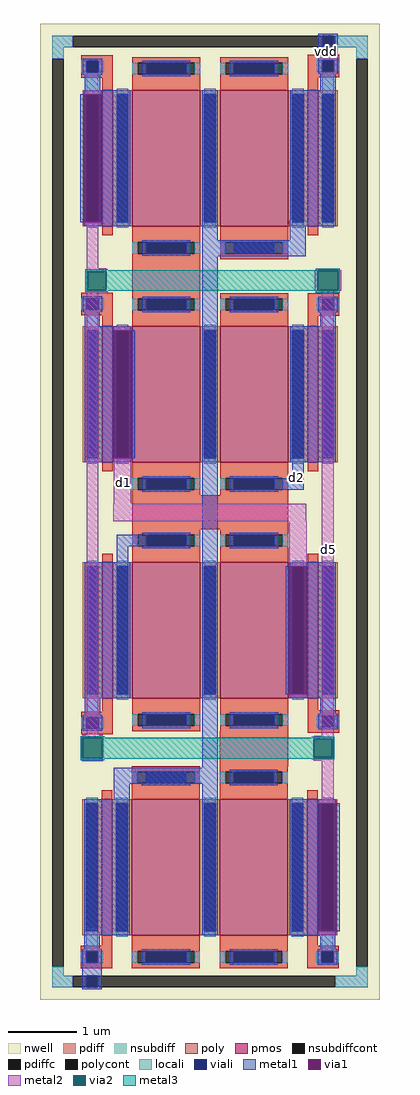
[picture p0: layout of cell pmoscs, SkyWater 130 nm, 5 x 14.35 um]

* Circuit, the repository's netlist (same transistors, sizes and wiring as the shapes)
** sch_path: /home/ridho/project/opamp/mag/pmoscs.sch
.subckt pmoscs VDD D1 D2 D5
*.PININFO VDD:B D1:B D2:B D5:B
XM2 D2 D2 VDD VDD sky130_fd_pr__pfet_01v8 L=1 W=2 nf=1 m=2
XM1 D1 D2 VDD VDD sky130_fd_pr__pfet_01v8 L=1 W=2 nf=1 m=2
XM5 D5 D2 VDD VDD sky130_fd_pr__pfet_01v8 L=1 W=2 nf=1 m=2
XM3 vdd vdd vdd vdd sky130_fd_pr__pfet_01v8 L=1 W=2 nf=1 m=2
XM4 vdd vdd vdd vdd sky130_fd_pr__pfet_01v8 L=0.15 W=2 nf=1 m=2
XM6 D2 D2 D2 vdd sky130_fd_pr__pfet_01v8 L=0.15 W=2 nf=1 m=2
XM7 D1 D1 D1 vdd sky130_fd_pr__pfet_01v8 L=0.15 W=2 nf=1 m=2
XM8 D5 D5 D5 vdd sky130_fd_pr__pfet_01v8 L=0.15 W=2 nf=1 m=2
.ends
.end

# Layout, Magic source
magic
tech sky130A
magscale 1 2
<< nwell >>
rect -232 53 767 2922
<< nsubdiff >>
rect -196 2852 -136 2886
rect 636 2852 731 2886
rect -196 2819 -162 2852
rect 697 2819 731 2852
rect -196 123 -162 149
rect 697 123 731 149
rect -196 89 -136 123
rect 636 89 731 123
<< nsubdiffcont >>
rect -136 2852 636 2886
rect -196 149 -162 2819
rect 697 149 731 2819
rect -136 89 636 123
<< poly >>
rect -111 2812 -19 2828
rect -111 2778 -95 2812
rect -61 2778 -19 2812
rect -111 2762 -19 2778
rect -49 2748 -19 2762
rect 555 2814 647 2830
rect 555 2780 597 2814
rect 631 2780 647 2814
rect 555 2764 647 2780
rect 555 2747 585 2764
rect -111 2114 -19 2130
rect 39 2129 239 2229
rect -111 2080 -95 2114
rect -61 2080 -19 2114
rect -111 2064 -19 2080
rect -49 2048 -19 2064
rect 555 2113 647 2129
rect 555 2079 597 2113
rect 631 2079 647 2113
rect 555 2063 647 2079
rect 555 2049 585 2063
rect 39 1435 497 1535
rect -49 899 -19 913
rect -111 883 -19 899
rect -111 849 -95 883
rect -61 849 -19 883
rect -111 833 -19 849
rect 555 903 585 917
rect 555 887 647 903
rect 555 853 597 887
rect 631 853 647 887
rect 296 739 497 841
rect 555 837 647 853
rect -50 211 -20 225
rect -112 195 -20 211
rect -112 161 -96 195
rect -62 161 -20 195
rect -112 145 -20 161
rect 554 211 584 225
rect 554 195 646 211
rect 554 161 596 195
rect 630 161 646 195
rect 554 145 646 161
<< polycont >>
rect -95 2778 -61 2812
rect 597 2780 631 2814
rect -95 2080 -61 2114
rect 597 2079 631 2113
rect -95 849 -61 883
rect 597 853 631 887
rect -96 161 -62 195
rect 596 161 630 195
<< locali >>
rect -196 2852 -136 2886
rect 636 2852 731 2886
rect -196 2819 -162 2852
rect 697 2819 731 2852
rect -111 2778 -95 2812
rect -61 2778 -45 2812
rect 581 2780 597 2814
rect 631 2780 647 2814
rect -95 2728 -61 2778
rect 597 2717 631 2780
rect -111 2080 -95 2114
rect -61 2080 -45 2114
rect -95 2025 -61 2080
rect 581 2079 597 2113
rect 631 2079 647 2113
rect 596 2014 631 2079
rect -95 883 -61 948
rect 597 887 631 958
rect -111 849 -95 883
rect -61 849 -45 883
rect 581 853 597 887
rect 631 853 647 887
rect -96 195 -62 262
rect 596 195 630 259
rect -112 161 -96 195
rect -62 161 -46 195
rect 580 161 596 195
rect 630 161 646 195
rect -196 123 -162 149
rect 697 123 731 149
rect -196 89 -136 123
rect 636 89 731 123
<< viali >>
rect 597 2852 631 2886
rect -95 2778 -61 2812
rect 597 2780 631 2814
rect -95 2080 -61 2114
rect 597 2079 631 2113
rect -95 849 -61 883
rect 597 853 631 887
rect -96 161 -62 195
rect 596 161 630 195
rect -96 89 -62 123
<< metal1 >>
rect 585 2886 643 2892
rect 585 2852 597 2886
rect 631 2852 643 2886
rect -107 2812 -49 2818
rect -107 2778 -95 2812
rect -61 2778 -49 2812
rect -107 2772 -49 2778
rect 585 2814 643 2852
rect 585 2780 597 2814
rect 631 2780 643 2814
rect 585 2774 643 2780
rect -101 2726 -55 2772
rect 592 2726 637 2774
rect -101 2714 33 2726
rect -114 2338 -104 2714
rect -52 2338 33 2714
rect -101 2326 33 2338
rect 244 2285 291 2726
rect 503 2345 637 2726
rect 502 2326 637 2345
rect 502 2285 549 2326
rect 244 2238 549 2285
rect -107 2114 -49 2120
rect -107 2080 -95 2114
rect -61 2080 -49 2114
rect -107 2074 -49 2080
rect -101 2032 -56 2074
rect -101 2020 27 2032
rect -101 1644 -16 2020
rect 36 1644 46 2020
rect -101 1632 27 1644
rect -7 1385 76 1419
rect -7 1338 27 1385
rect -101 1330 27 1338
rect -101 938 26 1330
rect -101 889 -55 938
rect -107 883 -49 889
rect -107 849 -95 883
rect -61 849 -49 883
rect -107 843 -49 849
rect 244 734 291 2238
rect 585 2113 643 2119
rect 585 2079 597 2113
rect 631 2079 643 2113
rect 585 2073 643 2079
rect 591 2032 637 2073
rect 503 1632 637 2032
rect 510 1584 543 1632
rect 462 1551 543 1584
rect 503 1326 630 1339
rect 490 950 500 1326
rect 552 958 630 1326
rect 552 950 637 958
rect 503 939 637 950
rect 591 893 637 939
rect 585 887 643 893
rect 585 853 597 887
rect 631 853 643 887
rect 585 847 643 853
rect -16 687 291 734
rect -16 642 31 687
rect -102 626 31 642
rect -102 242 32 626
rect 244 242 291 687
rect 508 630 632 642
rect 508 254 587 630
rect 639 254 649 630
rect -102 201 -57 242
rect 508 241 636 254
rect 591 201 636 241
rect -108 195 -50 201
rect -108 161 -96 195
rect -62 161 -50 195
rect -108 123 -50 161
rect 584 195 642 201
rect 584 161 596 195
rect 630 161 642 195
rect 584 155 642 161
rect -108 89 -96 123
rect -62 89 -50 123
rect -108 83 -50 89
<< via1 >>
rect -104 2338 -52 2714
rect -16 1644 36 2020
rect 500 950 552 1326
rect 587 254 639 630
<< metal2 >>
rect -104 2714 -52 2724
rect -104 2328 -52 2338
rect -95 2203 -61 2328
rect -95 2194 -38 2203
rect -95 2138 -94 2194
rect -95 2129 -38 2138
rect 575 2136 584 2196
rect 644 2136 653 2196
rect -95 831 -61 2129
rect -16 2020 36 2030
rect -16 1511 36 1644
rect -17 1459 551 1511
rect 500 1326 552 1459
rect 500 940 552 950
rect -108 822 -48 831
rect 596 829 631 2136
rect -108 753 -48 762
rect 572 820 631 829
rect 628 764 631 820
rect 572 755 631 764
rect 596 640 631 755
rect 587 630 639 640
rect 587 244 639 254
<< via2 >>
rect -94 2138 -38 2194
rect 584 2136 644 2196
rect -108 762 -48 822
rect 572 764 628 820
<< metal3 >>
rect -99 2196 -33 2199
rect 579 2196 649 2201
rect -99 2194 584 2196
rect -99 2138 -94 2194
rect -38 2138 584 2194
rect -99 2136 584 2138
rect 644 2136 649 2196
rect -99 2133 -33 2136
rect 579 2131 649 2136
rect -113 823 -43 827
rect 567 823 633 825
rect -113 822 633 823
rect -113 762 -108 822
rect -48 820 633 822
rect -48 764 572 820
rect 628 764 633 820
rect -48 762 633 764
rect -113 761 633 762
rect -113 757 -43 761
rect 567 759 633 761
use sky130_fd_pr__pfet_01v8_2ZH9AN  sky130_fd_pr__pfet_01v8_2ZH9AN_0
transform 1 0 -34 0 1 1832
box -109 -262 109 262
use sky130_fd_pr__pfet_01v8_2ZH9AN  sky130_fd_pr__pfet_01v8_2ZH9AN_1
transform 1 0 -35 0 1 442
box -109 -262 109 262
use sky130_fd_pr__pfet_01v8_2ZH9AN  sky130_fd_pr__pfet_01v8_2ZH9AN_2
transform 1 0 569 0 1 442
box -109 -262 109 262
use sky130_fd_pr__pfet_01v8_2ZH9AN  sky130_fd_pr__pfet_01v8_2ZH9AN_3
transform 1 0 -34 0 1 1138
box -109 -262 109 262
use sky130_fd_pr__pfet_01v8_2ZH9AN  sky130_fd_pr__pfet_01v8_2ZH9AN_4
transform 1 0 570 0 1 1138
box -109 -262 109 262
use sky130_fd_pr__pfet_01v8_2ZH9AN  sky130_fd_pr__pfet_01v8_2ZH9AN_5
transform 1 0 570 0 1 1832
box -109 -262 109 262
use sky130_fd_pr__pfet_01v8_2ZH9AN  sky130_fd_pr__pfet_01v8_2ZH9AN_6
transform 1 0 570 0 1 2526
box -109 -262 109 262
use sky130_fd_pr__pfet_01v8_2ZH9AN  sky130_fd_pr__pfet_01v8_2ZH9AN_7
transform 1 0 -34 0 1 2526
box -109 -262 109 262
use sky130_fd_pr__pfet_01v8_SDE6B7  sky130_fd_pr__pfet_01v8_SDE6B7_0
transform 1 0 268 0 1 2526
box -323 -300 323 300
use sky130_fd_pr__pfet_01v8_SDE6B7  sky130_fd_pr__pfet_01v8_SDE6B7_1
transform 1 0 268 0 1 1832
box -323 -300 323 300
use sky130_fd_pr__pfet_01v8_SDE6B7  sky130_fd_pr__pfet_01v8_SDE6B7_2
transform 1 0 268 0 1 1138
box -323 -300 323 300
use sky130_fd_pr__pfet_01v8_SDE6B7  sky130_fd_pr__pfet_01v8_SDE6B7_3
transform 1 0 267 0 1 442
box -323 -300 323 300
<< labels >>
flabel metal2 617 1375 617 1375 0 FreeSans 1600 0 0 0 d5
port 3 nsew
flabel metal1 522 1586 522 1586 0 FreeSans 1600 0 0 0 d2
port 2 nsew
flabel metal2 14 1573 14 1573 0 FreeSans 1600 0 0 0 d1
port 1 nsew
flabel metal1 610 2840 610 2840 0 FreeSans 1600 0 0 0 vdd
port 0 nsew
<< end >>

# cell sky130_fd_pr__pfet_01v8_2ZH9AN: kit device sky130_fd_pr__pfet_01v8, w 2 l 0.15 m 1 nf 1 diffcov 100 polycov 100 guard 0 glc 1 grc 1 gtc 1 gbc 1 tbcov 100 rlcov 100 topc 0 botc 0 poverlap 0 doverlap 1 lmin 0.15 wmin 0.42 compatible {sky130_fd_pr__pfet_01v8 sky130_fd_pr__pfet_01v8_lvt sky130_fd_pr__pfet_01v8_hvt sky130_fd_pr__pfet_g5v0d10v5} full_metal 1 viasrc 100 viadrn 100 viagate 100 viagb 0 viagr 0 viagl 0 viagt 0

# cell sky130_fd_pr__pfet_01v8_SDE6B7: kit device sky130_fd_pr__pfet_01v8, w 2 l 1 m 1 nf 2 diffcov 100 polycov 100 guard 0 glc 1 grc 1 gtc 1 gbc 1 tbcov 100 rlcov 100 topc 1 botc 1 poverlap 0 doverlap 1 lmin 0.15 wmin 0.42 compatible {sky130_fd_pr__pfet_01v8 sky130_fd_pr__pfet_01v8_lvt sky130_fd_pr__pfet_01v8_hvt sky130_fd_pr__pfet_g5v0d10v5} full_metal 1 viasrc 100 viadrn 100 viagate 70 viagb 0 viagr 0 viagl 0 viagt 0
